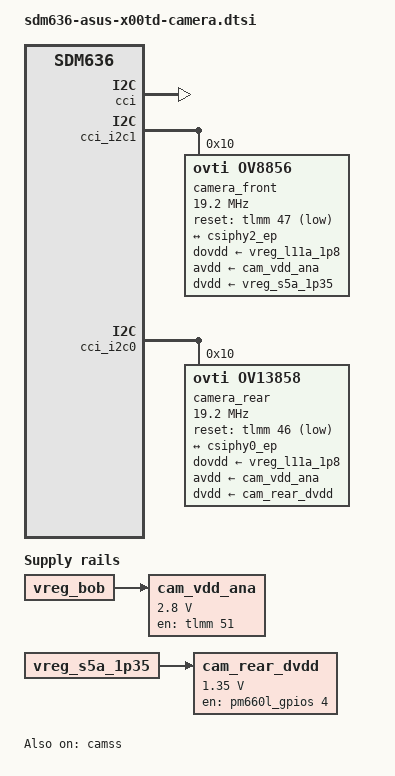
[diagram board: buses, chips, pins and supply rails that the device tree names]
// SPDX-License-Identifier: GPL-2.0-only
/*
 * enjoys-os — FRONT (OV8856) + REAR main (OV13855) cameras for the Asus
 * ZenFone Max Pro M1 (asus-x00td, sdm636/sdm660). Appended to the board DTS
 * (sdm636-asus-x00td.dts) via a trailing #include at kernel-build time.
 *
 * Every value is carved from the REAL x00td stock DTB (qcom,camera@N) and
 * resolved to mainline pm660/pm660l regulators + mmcc-sdm660 clocks:
 *
 *   FRONT  camera@2: CSIPHY2 / CSID2 / CCI master 1 (cci_i2c1)
 *                    MCLK gpio33 (mclk1) / RESET gpio47 / 4-lane / ov8856
 *   REAR   camera@0: CSIPHY0 / CSID0 / CCI master 0 (cci_i2c0)
 *                    MCLK gpio32 (mclk0) / RESET gpio46 / 4-lane / ov13855
 *                    (the mainline "ov13858" driver checks CHIP_ID 0xd855 =
 *                     OV13855, so it binds the fitted rear sensor directly)
 *
 *   Shared rails:
 *     DOVDD 1.8V  = pm660_l11                 -> vreg_l11a_1p8
 *     AVDD  2.8V  = cam_vadd (TLMM gpio51)    -> cam_vdd_ana (vin = vreg_bob)
 *   Per-camera DVDD:
 *     FRONT 1.35V = pm660_s5                  -> vreg_s5a_1p35
 *     REAR  1.35V = pm660l_gpios4 switch      -> cam_rear_dvdd (vin = S5A)
 *
 * On-device-only tuning (does NOT affect DTB compile): I2C addresses (0x10),
 * MCLK 19.2 vs 24 MHz, link-frequencies, and the pm660l gpio4 pin index.
 */

#include <dt-bindings/clock/qcom,mmcc-sdm660.h>
#include <dt-bindings/gpio/gpio.h>

/ {
	/* Shared 2.8 V camera analog — external LDO, TLMM gpio51 enable. */
	cam_vdd_ana: regulator-cam-vana {
		compatible = "regulator-fixed";
		regulator-name = "cam_vdd_ana_2v8";
		regulator-min-microvolt = <2800000>;
		regulator-max-microvolt = <2800000>;
		gpio = <&tlmm 51 GPIO_ACTIVE_HIGH>;
		enable-active-high;
		vin-supply = <&vreg_bob>;
	};

	/* Rear 1.35 V digital — pm660l gpio4 switch, sourced from S5A. */
	cam_rear_dvdd: regulator-cam-rear-dvdd {
		compatible = "regulator-fixed";
		regulator-name = "cam_rear_dvdd_1v35";
		regulator-min-microvolt = <1350000>;
		regulator-max-microvolt = <1350000>;
		gpio = <&pm660l_gpios 4 GPIO_ACTIVE_HIGH>;
		enable-active-high;
		vin-supply = <&vreg_s5a_1p35>;
	};
};

&cci {
	status = "okay";
};

/* ---- FRONT: OV8856 on CCI master 1 ---- */
&cci_i2c1 {
	status = "okay";
	#address-cells = <1>;
	#size-cells = <0>;

	camera_front: camera@10 {
		compatible = "ovti,ov8856";
		reg = <0x10>;

		clocks = <&mmcc CAMSS_MCLK1_CLK>;
		clock-names = "xvclk";
		assigned-clocks = <&mmcc CAMSS_MCLK1_CLK>;
		assigned-clock-rates = <19200000>;
		clock-frequency = <19200000>;

		dovdd-supply = <&vreg_l11a_1p8>;
		avdd-supply = <&cam_vdd_ana>;
		dvdd-supply = <&vreg_s5a_1p35>;

		reset-gpios = <&tlmm 47 GPIO_ACTIVE_LOW>;
		pinctrl-names = "default";
		pinctrl-0 = <&cam_front_mclk_default>;

		rotation = <270>;
		orientation = <0>; /* front-facing */

		port {
			ov8856_ep: endpoint {
				remote-endpoint = <&csiphy2_ep>;
				data-lanes = <1 2 3 4>;
				link-frequencies = /bits/ 64 <360000000>;
			};
		};
	};
};

/* ---- REAR main: OV13855 (mainline ov13858 driver) on CCI master 0 ---- */
&cci_i2c0 {
	status = "okay";
	#address-cells = <1>;
	#size-cells = <0>;

	camera_rear: camera@10 {
		compatible = "ovti,ov13858";
		reg = <0x10>;

		clocks = <&mmcc CAMSS_MCLK0_CLK>;
		clock-names = "xvclk";
		assigned-clocks = <&mmcc CAMSS_MCLK0_CLK>;
		assigned-clock-rates = <19200000>;
		clock-frequency = <19200000>;

		dovdd-supply = <&vreg_l11a_1p8>;
		avdd-supply = <&cam_vdd_ana>;
		dvdd-supply = <&cam_rear_dvdd>;

		reset-gpios = <&tlmm 46 GPIO_ACTIVE_LOW>;
		pinctrl-names = "default";
		pinctrl-0 = <&cam_rear_mclk_default>;

		rotation = <270>;
		orientation = <1>; /* back-facing */

		port {
			ov13858_ep: endpoint {
				remote-endpoint = <&csiphy0_ep>;
				data-lanes = <1 2 3 4>;
				link-frequencies = /bits/ 64 <540000000>;
			};
		};
	};
};

&camss {
	vdda-supply = <&vreg_l1a_1p225>;
	status = "okay";

	ports {
		#address-cells = <1>;
		#size-cells = <0>;

		/* CSIPHY0 — rear main. */
		port@0 {
			reg = <0>;
			csiphy0_ep: endpoint {
				bus-type = <4>; /* MEDIA_BUS_TYPE_CSI2_DPHY */
				data-lanes = <1 2 3 4>;
				remote-endpoint = <&ov13858_ep>;
			};
		};

		/* CSIPHY2 — front. */
		port@2 {
			reg = <2>;
			csiphy2_ep: endpoint {
				bus-type = <4>; /* MEDIA_BUS_TYPE_CSI2_DPHY */
				data-lanes = <1 2 3 4>;
				remote-endpoint = <&ov8856_ep>;
			};
		};
	};
};

&tlmm {
	cam_front_mclk_default: cam-front-mclk-state {
		pins = "gpio33";
		function = "cam_mclk";
		drive-strength = <8>;
		bias-disable;
	};

	cam_rear_mclk_default: cam-rear-mclk-state {
		pins = "gpio32";
		function = "cam_mclk";
		drive-strength = <8>;
		bias-disable;
	};
};
